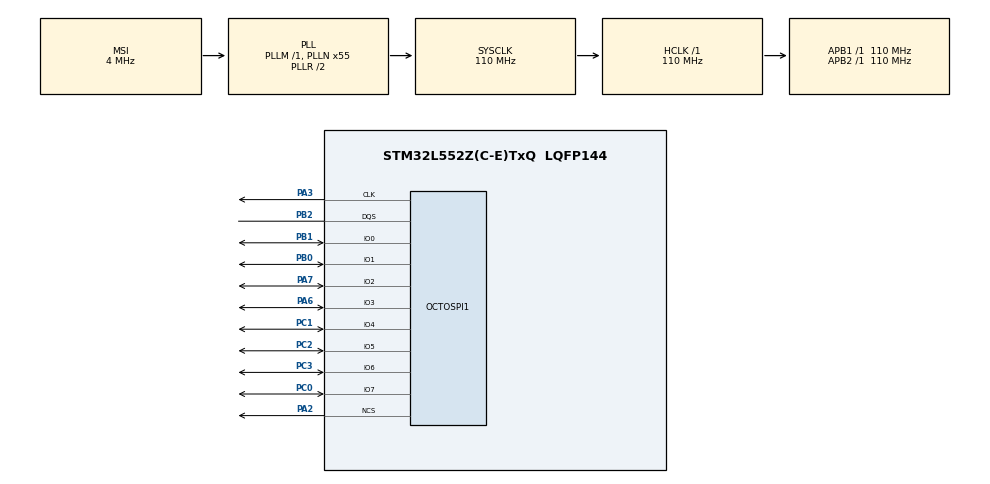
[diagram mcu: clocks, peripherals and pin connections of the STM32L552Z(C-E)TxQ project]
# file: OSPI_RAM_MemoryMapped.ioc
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Mcu.Family=STM32L5
Mcu.Name=STM32L552Z(C-E)TxQ
Mcu.Package=LQFP144
NVIC.OCTOSPI1_IRQn=true\:0\:0\:false\:false\:true\:true\:true\:true
NVIC.PriorityGroup=NVIC_PRIORITYGROUP_3
OCTOSPI1.AccessTime=6
OCTOSPI1.ClockPrescaler=3
OCTOSPI1.DelayBlockBypass=HAL_OSPI_DELAY_BLOCK_USED
OCTOSPI1.DelayHoldQuarterCycle=HAL_OSPI_DHQC_ENABLE
OCTOSPI1.DeviceSize=23
OCTOSPI1.FifoThreshold=4
OCTOSPI1.LatencyMode=HAL_OSPI_FIXED_LATENCY
OCTOSPI1.RWRecoveryTime=3
OCTOSPI1.WriteZeroLatency=HAL_OSPI_LATENCY_ON_WRITE
PA2.GPIO_PuPd=GPIO_PULLUP
PA2.Mode=hyperbus_mode
PA2.Signal=OCTOSPI1_NCS
PA3.Mode=hyperbus_mode
PA3.Signal=OCTOSPI1_CLK
PA6.Mode=hyperbus_mode
PA6.Signal=OCTOSPI1_IO3
PA7.Mode=hyperbus_mode
PA7.Signal=OCTOSPI1_IO2
PB0.Mode=hyperbus_mode
PB0.Signal=OCTOSPI1_IO1
PB1.Mode=hyperbus_mode
PB1.Signal=OCTOSPI1_IO0
PB2.Mode=hyperbus_mode
PB2.Signal=OCTOSPI1_DQS
PC0.Mode=hyperbus_mode
PC0.Signal=OCTOSPI1_IO7
PC1.Mode=hyperbus_mode
PC1.Signal=OCTOSPI1_IO4
PC2.Mode=hyperbus_mode
PC2.Signal=OCTOSPI1_IO5
PC3.Mode=hyperbus_mode
PC3.Signal=OCTOSPI1_IO6
ProjectManager.HeapSize=0x200
ProjectManager.StackSize=0x400
ProjectManager.TargetToolchain=EWARM V8.32
RCC.AHBFreq_Value=110000000
RCC.APB1Freq_Value=110000000
RCC.APB1TimFreq_Value=110000000
RCC.APB2Freq_Value=110000000
RCC.APB2TimFreq_Value=110000000
RCC.CortexFreq_Value=110000000
RCC.HCLKFreq_Value=110000000
RCC.HSE_VALUE=16000000
RCC.HSI48_VALUE=48000000
RCC.HSI_VALUE=16000000
RCC.LSE_VALUE=32768
RCC.MSI_VALUE=4000000
RCC.PLLN=55
RCC.SYSCLKFreq_VALUE=110000000
RCC.SYSCLKSource=RCC_SYSCLKSOURCE_PLLCLK
RCC.VCOOutputFreq_Value=220000000
VP_ICACHE_VS_ICACHE.Mode=DirectMappedCache
VP_PWR_VS_DBSignals.Mode=DisableDeadBatterySignals
board=custom

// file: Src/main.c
/* USER CODE BEGIN Header */
/**
  ******************************************************************************
  * @file    OSPI/OSPI_RAM_MemoryMapped/Src/main.c
  * @author  MCD Application Team
  * @brief   This example describes how to configure and use OctoSPI through
  *          the STM32L5xx HAL API.
  ******************************************************************************
  * @attention
  *
  * Copyright (c) 2019 STMicroelectronics.
  * All rights reserved.
  *
  * This software is licensed under terms that can be found in the LICENSE file
  * in the root directory of this software component.
  * If no LICENSE file comes with this software, it is provided AS-IS.
  *
  ******************************************************************************
  */
/* USER CODE END Header */
#include "main.h"

OSPI_HandleTypeDef hospi1;

/* USER CODE BEGIN PV */
/* Buffer used for transmission */
uint8_t aTxBuffer[] = " ****Memory-mapped OSPI communication****  ****Memory-mapped OSPI communication****  ****Memory-mapped OSPI communication****  ****Memory-mapped OSPI communication****  ****Memory-mapped OSPI communication****  ****Memory-mapped OSPI communication**** ";
/* USER CODE END PV */

void SystemClock_Config(void);
static void MX_GPIO_Init(void);
static void MX_ICACHE_Init(void);
static void MX_OCTOSPI1_Init(void);

int main(void)
{
  /* USER CODE BEGIN 1 */
  OSPI_HyperbusCmdTypeDef sCommand;
  OSPI_MemoryMappedTypeDef sMemMappedCfg;

  uint32_t address = 0;
  uint16_t index;
  __IO uint8_t *mem_addr;
  /* USER CODE END 1 */

  /* MCU Configuration--------------------------------------------------------*/

  /* Reset of all peripherals, Initializes the Flash interface and the Systick. */
  HAL_Init();

  /* Configure the system clock */
  SystemClock_Config();

  /* USER CODE BEGIN SysInit */
  BSP_LED_Init(LED_GREEN);
  BSP_LED_Init(LED_RED);
  /* USER CODE END SysInit */

  /* Initialize all configured peripherals */
  MX_GPIO_Init();
  MX_ICACHE_Init();
  MX_OCTOSPI1_Init();
  /* USER CODE BEGIN 2 */

  /* Caution: Despite instruction cache is enabled, no need for cache invalidation here */
  /*          since no previous fetch (read/execute) instructions were executed on      */
  /*          a different memory content                                                */

  /* Memory-mapped mode configuration --------------------------------------- */
  sCommand.AddressSpace = HAL_OSPI_MEMORY_ADDRESS_SPACE;
  sCommand.AddressSize  = HAL_OSPI_ADDRESS_32_BITS;
  sCommand.DQSMode      = HAL_OSPI_DQS_ENABLE;
  sCommand.Address      = 0;
  sCommand.NbData       = 1;

  if (HAL_OSPI_HyperbusCmd(&hospi1, &sCommand, HAL_OSPI_TIMEOUT_DEFAULT_VALUE) != HAL_OK)
  {
    Error_Handler();
  }

  sMemMappedCfg.TimeOutActivation = HAL_OSPI_TIMEOUT_COUNTER_DISABLE;

  if (HAL_OSPI_MemoryMapped(&hospi1, &sMemMappedCfg) != HAL_OK)
  {
    Error_Handler();
  }
  /* USER CODE END 2 */

  /* Infinite loop */
  /* USER CODE BEGIN WHILE */
  while (1)
  {
    /* Writing Sequence ----------------------------------------------- */
    mem_addr = (__IO uint8_t *)(OCTOSPI1_BASE + address);
    for (index = 0; index < BUFFERSIZE; index++)
    {
      *mem_addr = aTxBuffer[index];
      mem_addr++;
    }

    /* Reading Sequence ----------------------------------------------- */
    mem_addr = (__IO uint8_t *)(OCTOSPI1_BASE + address);
    for (index = 0; index < BUFFERSIZE; index++)
    {
      if (*mem_addr != aTxBuffer[index])
      {
        BSP_LED_On(LED_RED);
      }
      mem_addr++;
    }
    BSP_LED_Toggle(LED_GREEN);
    HAL_Delay(50);

    address += OSPI_HYPERRAM_INCR_SIZE;
    if(address >= OSPI_HYPERRAM_END_ADDR)
    {
      address = 0;
    }
    /* USER CODE END WHILE */

  }
}

void SystemClock_Config(void)
{
  RCC_OscInitTypeDef RCC_OscInitStruct = {0};
  RCC_ClkInitTypeDef RCC_ClkInitStruct = {0};

  /** Configure the main internal regulator output voltage
  */
  if (HAL_PWREx_ControlVoltageScaling(PWR_REGULATOR_VOLTAGE_SCALE0) != HAL_OK)
  {
    Error_Handler();
  }

  /** Initializes the RCC Oscillators according to the specified parameters
  * in the RCC_OscInitTypeDef structure.
  */
  RCC_OscInitStruct.OscillatorType = RCC_OSCILLATORTYPE_MSI;
  RCC_OscInitStruct.MSIState = RCC_MSI_ON;
  RCC_OscInitStruct.MSICalibrationValue = RCC_MSICALIBRATION_DEFAULT;
  RCC_OscInitStruct.MSIClockRange = RCC_MSIRANGE_6;
  RCC_OscInitStruct.PLL.PLLState = RCC_PLL_ON;
  RCC_OscInitStruct.PLL.PLLSource = RCC_PLLSOURCE_MSI;
  RCC_OscInitStruct.PLL.PLLM = 1;
  RCC_OscInitStruct.PLL.PLLN = 55;
  RCC_OscInitStruct.PLL.PLLP = RCC_PLLP_DIV7;
  RCC_OscInitStruct.PLL.PLLQ = RCC_PLLQ_DIV2;
  RCC_OscInitStruct.PLL.PLLR = RCC_PLLR_DIV2;
  if (HAL_RCC_OscConfig(&RCC_OscInitStruct) != HAL_OK)
  {
    Error_Handler();
  }

  /** Initializes the CPU, AHB and APB buses clocks
  */
  RCC_ClkInitStruct.ClockType = RCC_CLOCKTYPE_HCLK|RCC_CLOCKTYPE_SYSCLK
                              |RCC_CLOCKTYPE_PCLK1|RCC_CLOCKTYPE_PCLK2;
  RCC_ClkInitStruct.SYSCLKSource = RCC_SYSCLKSOURCE_PLLCLK;
  RCC_ClkInitStruct.AHBCLKDivider = RCC_SYSCLK_DIV1;
  RCC_ClkInitStruct.APB1CLKDivider = RCC_HCLK_DIV1;
  RCC_ClkInitStruct.APB2CLKDivider = RCC_HCLK_DIV1;

  if (HAL_RCC_ClockConfig(&RCC_ClkInitStruct, FLASH_LATENCY_5) != HAL_OK)
  {
    Error_Handler();
  }
}

static void MX_ICACHE_Init(void)
{

  /** Enable instruction cache in 1-way (direct mapped cache)
  */
  if (HAL_ICACHE_ConfigAssociativityMode(ICACHE_1WAY) != HAL_OK)
  {
    Error_Handler();
  }
  if (HAL_ICACHE_Enable() != HAL_OK)
  {
    Error_Handler();
  }

}

static void MX_OCTOSPI1_Init(void)
{

  OSPI_HyperbusCfgTypeDef sHyperBusCfg = {0};

  /* OCTOSPI1 parameter configuration*/
  hospi1.Instance = OCTOSPI1;
  hospi1.Init.FifoThreshold = 4;
  hospi1.Init.DualQuad = HAL_OSPI_DUALQUAD_DISABLE;
  hospi1.Init.MemoryType = HAL_OSPI_MEMTYPE_HYPERBUS;
  hospi1.Init.DeviceSize = 23;
  hospi1.Init.ChipSelectHighTime = 1;
  hospi1.Init.FreeRunningClock = HAL_OSPI_FREERUNCLK_DISABLE;
  hospi1.Init.ClockMode = HAL_OSPI_CLOCK_MODE_0;
  hospi1.Init.WrapSize = HAL_OSPI_WRAP_NOT_SUPPORTED;
  hospi1.Init.ClockPrescaler = 3;
  hospi1.Init.SampleShifting = HAL_OSPI_SAMPLE_SHIFTING_NONE;
  hospi1.Init.DelayHoldQuarterCycle = HAL_OSPI_DHQC_ENABLE;
  hospi1.Init.ChipSelectBoundary = 0;
  hospi1.Init.DelayBlockBypass = HAL_OSPI_DELAY_BLOCK_USED;
  hospi1.Init.Refresh = 0;
  if (HAL_OSPI_Init(&hospi1) != HAL_OK)
  {
    Error_Handler();
  }
  sHyperBusCfg.RWRecoveryTime = 3;
  sHyperBusCfg.AccessTime = 6;
  sHyperBusCfg.WriteZeroLatency = HAL_OSPI_LATENCY_ON_WRITE;
  sHyperBusCfg.LatencyMode = HAL_OSPI_FIXED_LATENCY;
  if (HAL_OSPI_HyperbusCfg(&hospi1, &sHyperBusCfg, HAL_OSPI_TIMEOUT_DEFAULT_VALUE) != HAL_OK)
  {
    Error_Handler();
  }

}

static void MX_GPIO_Init(void)
{

  /* GPIO Ports Clock Enable */
  __HAL_RCC_GPIOC_CLK_ENABLE();
  __HAL_RCC_GPIOA_CLK_ENABLE();
  __HAL_RCC_GPIOB_CLK_ENABLE();

}

/* USER CODE BEGIN 4 */
/**
  * @brief  Transfer Error callback.
  * @param  hospi: OSPI handle
  * @retval None
  */
void HAL_OSPI_ErrorCallback(OSPI_HandleTypeDef *hospi)
{
  Error_Handler();
}
/* USER CODE END 4 */

void Error_Handler(void)
{
  /* USER CODE BEGIN Error_Handler_Debug */
  BSP_LED_On(LED_RED);

  /* User may add here some code to deal with this error */
  while(1)
  {
    HAL_Delay(100);
    BSP_LED_Toggle(LED_RED);
  }
  /* USER CODE END Error_Handler_Debug */
}
